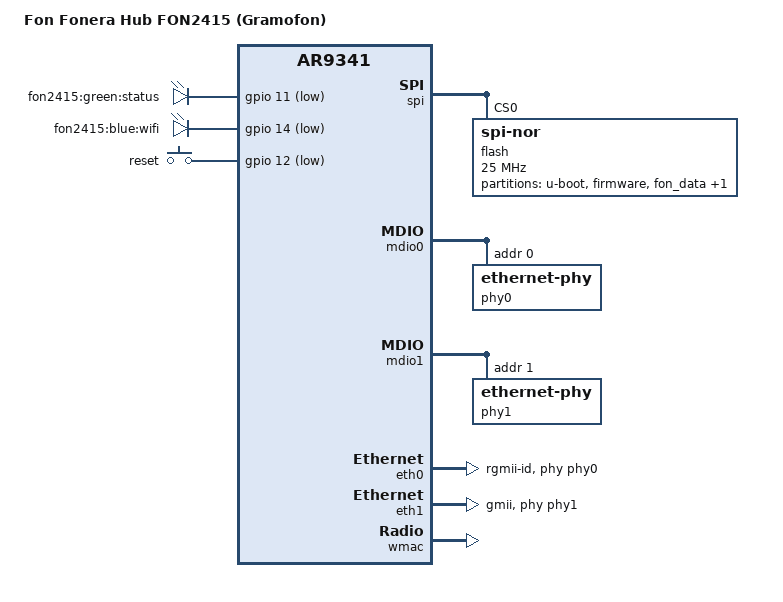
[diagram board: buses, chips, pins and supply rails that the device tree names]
// SPDX-License-Identifier: GPL-2.0-or-later OR MIT
//
// Fon Fonera Hub FON2415 (ook: FON2515A02 / Gramofon)
//
// Hardware:
//   CPU:   Atheros AR9341 (MIPS 74Kc, 535MHz)
//   RAM:   64MB DDR2 (ESMT M14D5121632A)
//   Flash: 16MB SPI NOR (MXIC MX25L128)
//   WiFi:  2.4GHz 802.11b/g/n (geïntegreerd in AR9341)
//   ETH:   2 poorten via Bi-TEK FM-1024LLF switch
//   Audio: AKM AK4430ET DAC (3.5mm jack) — I2S
//   UART:  J2 header, 115200 8N1, 3.3V TTL
//
// Flash-indeling (overeenstemmend met origineel U-Boot):
//   0x000000 - 0x01ffff  u-boot      (128KB)
//   0x020000 - 0xfdffff  firmware    (16.125MB — kernel + rootfs)
//   0xfe0000 - 0xfeffff  fon_data    (64KB)
//   0xff0000 - 0xffffff  art         (64KB, WiFi-kalibratie)
//
// U-Boot: `run lf` flitst fon2415.image naar 0x9f020000
//         `bootm 0x9f020000` start de kernel

/dts-v1/;

#include "ar9341.dtsi"
#include <dt-bindings/gpio/gpio.h>
#include <dt-bindings/input/input.h>

/ {
	compatible = "fon,fon2415", "qca,ar9341";
	model = "Fon Fonera Hub FON2415 (Gramofon)";

	aliases {
		led-boot     = &led_status;
		led-failsafe = &led_status;
		led-running  = &led_status;
		led-upgrade  = &led_status;
		label-mac-device = &eth0;
	};

	leds {
		compatible = "gpio-leds";

		// GPIO-nummers zijn schattingen op basis van soortgelijke
		// Atheros-boards. Aanpassen na verificatie via /sys/class/gpio.
		led_status: status {
			label = "fon2415:green:status";
			gpios = <&gpio 11 GPIO_ACTIVE_LOW>;
			default-state = "on";
		};

		wifi {
			label = "fon2415:blue:wifi";
			gpios = <&gpio 14 GPIO_ACTIVE_LOW>;
			linux,default-trigger = "phy0tpt";
		};
	};

	keys {
		compatible = "gpio-keys";

		reset {
			label = "reset";
			gpios = <&gpio 12 GPIO_ACTIVE_LOW>;
			linux,code = <KEY_RESTART>;
			debounce-interval = <60>;
		};
	};
};

// ── SPI flash ──────────────────────────────────────────────────────────────

&spi {
	status = "okay";

	flash@0 {
		compatible = "jedec,spi-nor";
		reg = <0>;
		spi-max-frequency = <25000000>;

		partitions {
			compatible = "fixed-partitions";
			#address-cells = <1>;
			#size-cells = <1>;

			partition@0 {
				label = "u-boot";
				reg = <0x000000 0x020000>;
				read-only;
			};

			partition@20000 {
				label = "firmware";
				reg = <0x020000 0xfc0000>;
			};

			partition@fe0000 {
				label = "fon_data";
				reg = <0xfe0000 0x010000>;
				read-only;
			};

			art: partition@ff0000 {
				label = "art";
				reg = <0xff0000 0x010000>;
				read-only;
			};
		};
	};
};

// ── Ethernet ───────────────────────────────────────────────────────────────
//
// De Bi-TEK FM-1024LLF is een externe switch. Op AR9341-boards is dit
// typisch een Atheros AR8035 of vergelijkbaar, verbonden via MDIO/RGMII.
// eth0 = WAN-achtige poort, eth1 = LAN-achtige poort.
// Pas phy-adressen aan als de poorten omgewisseld zijn.

&mdio0 {
	status = "okay";

	phy0: ethernet-phy@0 {
		reg = <0>;
		// AR8035-specifiek: gigabit autoneg, geen EEE
		eee-broken-100tx;
		eee-broken-1000t;
	};
};

&mdio1 {
	status = "okay";

	phy1: ethernet-phy@1 {
		reg = <1>;
		eee-broken-100tx;
		eee-broken-1000t;
	};
};

&eth0 {
	status = "okay";
	nvmem-cells = <&macaddr_art>;
	nvmem-cell-names = "mac-address";
	phy-handle = <&phy0>;
	phy-mode = "rgmii-id";
};

&eth1 {
	status = "okay";
	nvmem-cells = <&macaddr_art>;
	nvmem-cell-names = "mac-address";
	mac-address-increment = <1>;
	phy-handle = <&phy1>;
	phy-mode = "gmii";
};

// ── WiFi ───────────────────────────────────────────────────────────────────
//
// WiFi-kalibratie zit in de ART-partitie op offset 0x1000.
// Dit is het standaard Atheros-patroon voor AR9341.

&wmac {
	status = "okay";
	mtd-cal-data = <&art 0x1000>;
};

// ── MAC-adres uit ART ──────────────────────────────────────────────────────

&art {
	nvmem-layout {
		compatible = "fixed-layout";
		#address-cells = <1>;
		#size-cells = <1>;

		macaddr_art: macaddr@0 {
			reg = <0x0 0x6>;
		};
	};
};
